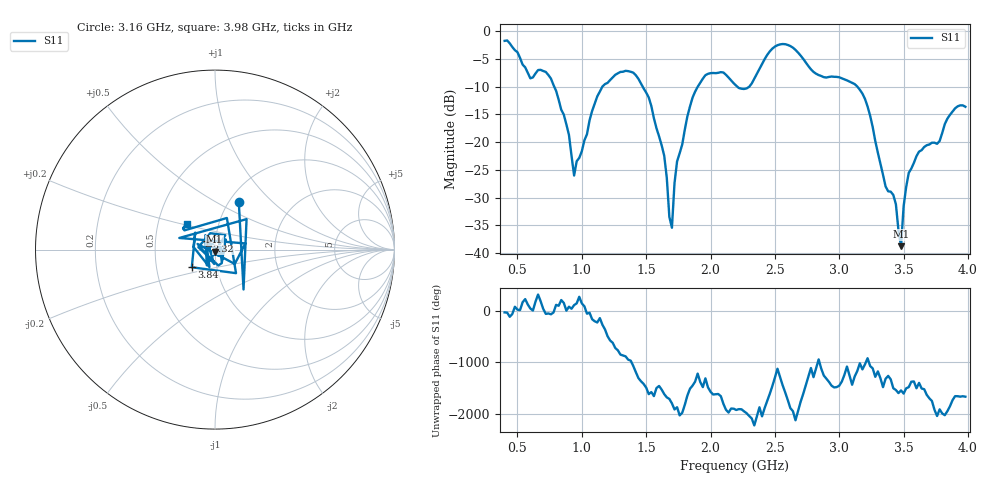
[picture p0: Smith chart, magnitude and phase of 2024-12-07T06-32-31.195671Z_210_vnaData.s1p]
!Created with skrf (http://scikit-rf.org).
# Hz S RI R 50.0
!freq ReS11 ImS11
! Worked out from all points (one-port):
!   180 points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, 400 MHz to 3.98 GHz, reference 50 ohm
!   lowest |S11| = -38.7 dB at 3.48 GHz (marker M1), VSWR 1.02, Z = 49.8 - j1.13 ohm
!   |S11| at or under -10 dB: 785.2 MHz to 1.16 GHz (374.8 MHz wide, 38.5 % of centre); 1.472 GHz to 1.901 GHz (429.1 MHz wide, 25.4 % of centre); 3.14 GHz to end of sweep (the widest 3 of 4)
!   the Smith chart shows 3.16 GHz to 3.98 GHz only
!   S11 on the Smith chart (normalised r, x): 3.16 GHz: 1.11, +0.64; 3.32 GHz: 0.91, +0.08; 3.84 GHz: 0.76, -0.15; 3.98 GHz: 0.71, +0.21
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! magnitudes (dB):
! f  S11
! 400 MHz  -1.8
! 600 MHz  -8.5
! 740 MHz  -7.9
! 860 MHz  -15.1
! 940 MHz  -26.0
! 1.12 GHz  -11.8
! 1.3 GHz  -7.4
! 1.52 GHz  -12.0
! 1.64 GHz  -22.5
! 1.68 GHz  -33.5
! 1.7 GHz  -35.4
! 1.72 GHz  -27.4
! 1.76 GHz  -22.0
! 1.86 GHz  -12.0
! 1.96 GHz  -8.0
! 2.2 GHz  -9.9
! 2.3 GHz  -10.1
! 2.5 GHz  -2.8
! 2.64 GHz  -3.0
! 3.1 GHz  -9.3
! 3.16 GHz  -10.6
! 3.32 GHz  -23.9
! 3.44 GHz  -31.2
! 3.48 GHz  -38.7
! 3.5 GHz  -31.6
! 3.54 GHz  -25.5
! 3.84 GHz  -15.8
! 3.98 GHz  -13.6
